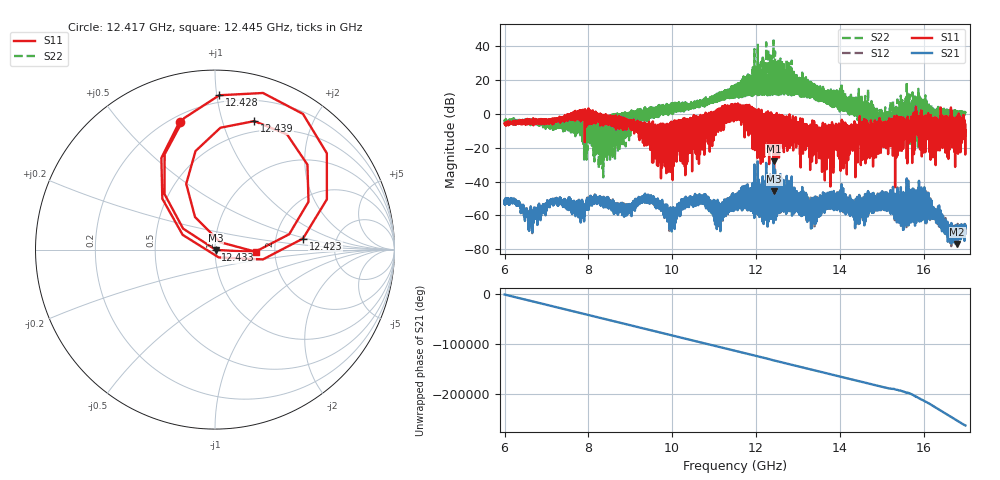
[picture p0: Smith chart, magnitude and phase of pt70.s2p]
#  HZ  S  RI  R  50.00
! Rohde & Schwarz Vector Network Analyzer
! Rohde-Schwarz,ZNA67-2Port,1332450062101215,3.01
! Created: UTC 10/16/2026, 2:02:55 PM
! freq[Hz]  re:S11  im:S11  re:S21  im:S21  re:S12  im:S12  re:S22  im:S22
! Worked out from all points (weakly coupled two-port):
!   11001 points, 6 GHz to 17 GHz, reference 50 ohm
!   highest |S21| = -27.94 dB at 12.42 GHz (marker M1); lowest = -76.9 dB at 16.803 GHz (marker M2)
!   lowest |S11| = -45.7 dB at 12.433 GHz (marker M3), VSWR 1.01, Z = 50.5 - j0.174 ohm
!   |S11| at or under -10 dB: 13.47169 GHz to 13.50061 GHz (28.92 MHz wide, 0.214 % of centre); 13.52814 GHz to 13.56916 GHz (41.03 MHz wide, 0.303 % of centre); 13.61275 GHz to 13.64804 GHz (35.29 MHz wide, 0.259 % of centre) (the widest 3 of 492)
!   |S22| runs from -37.5 to 43.5 dB; largest |S21 - S12| = 0.0029
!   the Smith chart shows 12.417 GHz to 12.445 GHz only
!   S11 on the Smith chart (normalised r, x): 12.417 GHz: 0.23, +0.73; 12.423 GHz: 2.87, +0.47; 12.428 GHz: 0.15, +1.02; 12.433 GHz: 1.01, -0.00; 12.439 GHz: 0.39, +1.28; 12.445 GHz: 1.59, -0.04
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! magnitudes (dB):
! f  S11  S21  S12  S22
! 6 GHz  -5.7  -51.8  -51.8  -4.4
! 6.62 GHz  -4.5  -57.8  -57.7  -4.2
! 7.143 GHz  -6.2  -53.1  -52.9  -5.2
! 7.834 GHz  -1.0  -53.4  -53.3  -2.2
! 9.667 GHz  -6.9  -51.9  -52.2  4.8
! 9.962 GHz  -10.8  -61.8  -62.3  4.4
! 10.565 GHz  -1.9  -53.0  -52.9  5.6
! 11.061 GHz  -7.2  -57.5  -56.5  11.8
! 11.5 GHz  6.0  -54.7  -54.8  12.0
! 12.417 GHz  -2.6  -64.6  -63.8  11.4
! 12.42 GHz  -14.1  -27.9  -27.5  43.5
! 12.423 GHz  -6.1  -54.8  -54.4  14.9
! 12.428 GHz  -1.3  -57.3  -57.3  12.2
! 12.433 GHz  -45.7  -54.2  -53.7  16.9
! 12.439 GHz  -2.5  -58.6  -58.2  14.5
! 12.445 GHz  -12.8  -55.1  -55.2  15.2
! 13.334 GHz  -8.9  -58.0  -57.7  11.4
! 15.167 GHz  -14.1  -49.6  -49.4  -2.1
! 15.517 GHz  -11.8  -56.0  -55.3  0.4
! 16.178 GHz  -1.3  -60.4  -60.8  -1.2
! 16.803 GHz  -4.0  -76.9  -75.4  -1.0
! 17 GHz  -6.4  -66.6  -66.9  0.7
